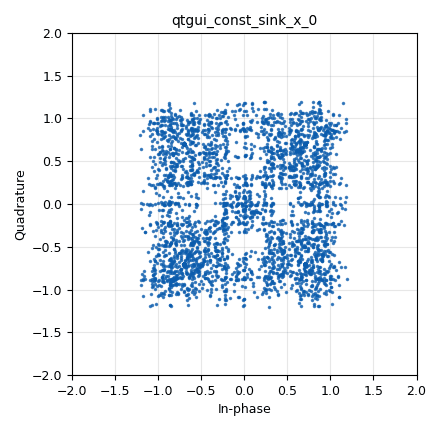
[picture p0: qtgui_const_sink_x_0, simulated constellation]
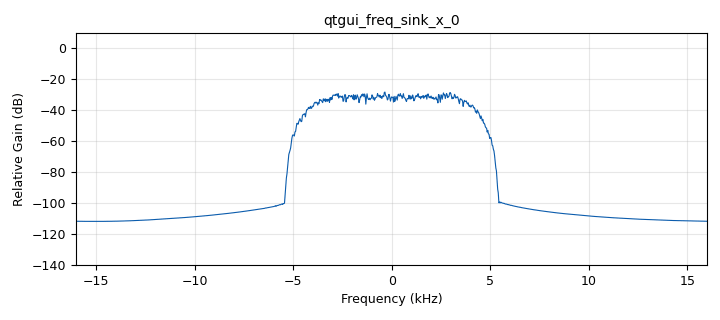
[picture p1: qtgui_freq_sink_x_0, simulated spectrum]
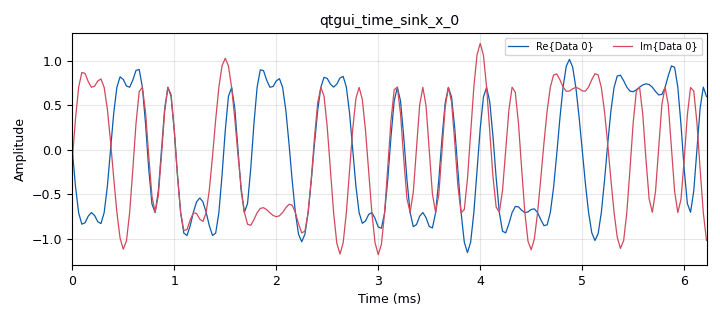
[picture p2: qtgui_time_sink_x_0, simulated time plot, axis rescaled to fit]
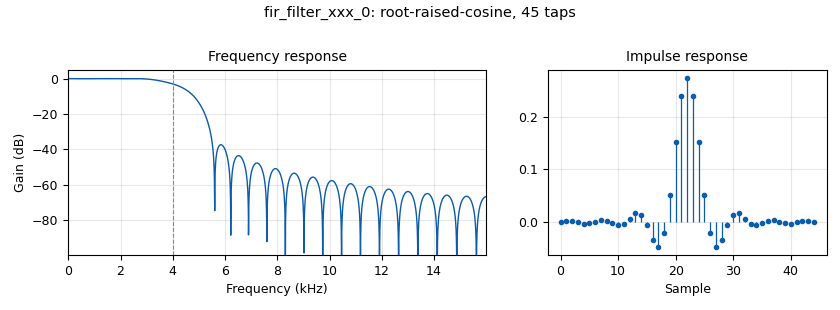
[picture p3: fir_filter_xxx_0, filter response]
options:
  parameters:
    generate_options: qt_gui
    id: PSK_Tx
    output_language: python
    title: Not titled yet
  states: {}

blocks:
- name: arity
  id: variable
  parameters:
    value: '4'
  states: {}
- name: excess_bw
  id: variable
  parameters:
    value: '350e-3'
  states: {}
- name: qpsk1
  id: variable_constellation_rect
  parameters:
    const_points: '[.7071-.7071j, -.7071+.7071j, .7071+.7071j, -.7071-.7071j]'
    imag_sect: '2'
    real_sect: '2'
    rot_sym: '4'
    sym_map: '[0, 1, 3, 2]'
    w_imag_sect: '1'
    w_real_sect: '1'
  states: {}
- name: qpsk2
  id: variable_constellation
  parameters:
    precision: '8'
    type: qpsk
  states: {}
- name: qpsk_obj
  id: variable_constellation_rect
  parameters:
    const_points: '[-1-1j, -1+1j, 1+1j, 1-1j]'
    imag_sect: '2'
    real_sect: '2'
    rot_sym: '4'
    sym_map: '[0, 1, 3, 2]'
    w_imag_sect: '1'
    w_real_sect: '1'
  states: {state: disabled}
- name: rf_samp_rate
  id: variable
  parameters:
    value: 2e6
  states: {}
- name: rrc_taps
  id: variable
  parameters:
    value: firdes.root_raised_cosine(1.0,samp_rate,samp_rate/sps, excess_bw, 11*sps)
  states: {}
- name: samp_rate
  id: variable
  parameters:
    value: '32000'
  states: {state: disabled}
- name: samp_rate
  id: variable
  parameters:
    value: 32e3
  states: {}
- name: sps
  id: variable
  parameters:
    value: '4'
  states: {}
- name: variable_constellation_0
  id: variable_constellation
  parameters:
    precision: '8'
    type: bpsk
  states: {}
- name: variable_constellation_rect_0
  id: variable_constellation_rect
  parameters:
    const_points: '[-1-1j, -1+1j, 1+1j, 1-1j]'
    imag_sect: '2'
    real_sect: '2'
    rot_sym: '4'
    sym_map: '[0, 1, 3, 2]'
    w_imag_sect: '1'
    w_real_sect: '1'
  states: {state: disabled}
- name: analog_random_source_x_0
  id: analog_random_source_x
  parameters:
    max: '256'
    min: '0'
    num_samps: '1000'
    repeat: 'True'
    type: byte
  states: {}
- name: digital_constellation_modulator_0
  id: digital_constellation_modulator
  parameters:
    constellation: qpsk1
    differential: 'True'
    excess_bw: '0.35'
    samples_per_symbol: '4'
  states: {}
- name: fir_filter_xxx_0
  id: fir_filter_xxx
  parameters:
    decim: '1'
    taps: rrc_taps
    type: ccc
  states: {}
- name: iio_pluto_sink_0
  id: iio_pluto_sink
  parameters:
    attenuation1: '0'
    bandwidth: '20000000'
    buffer_size: '32768'
    cyclic: 'False'
    filter_source: '''Auto'''
    frequency: int(433.92e6)
    samplerate: int(rf_samp_rate)
    type: fc32
  states: {}
- name: iio_pluto_source_0
  id: iio_pluto_source
  parameters:
    bandwidth: '20000000'
    bbdc: 'True'
    buffer_size: '32768'
    filter_source: '''Auto'''
    frequency: '2400000000'
    gain1: '''slow_attack'''
    quadrature: 'True'
    rfdc: 'True'
    samplerate: samp_rate
    type: fc32
  states: {state: disabled}
- name: qtgui_const_sink_x_0
  id: qtgui_const_sink_x
  parameters:
    size: '4096'
    type: complex
  states: {}
- name: qtgui_freq_sink_x_0
  id: qtgui_freq_sink_x
  parameters:
    average: '0.05'
    bw: samp_rate
    fc: '0'
    fftsize: '1024'
    type: complex
    wintype: window.WIN_KAISER
  states: {}
- name: qtgui_time_sink_x_0
  id: qtgui_time_sink_x
  parameters:
    size: '200'
    srate: samp_rate
    type: complex
  states: {}
- name: rational_resampler_xxx_0
  id: rational_resampler_xxx
  parameters:
    decim: '32'
    interp: '2000'
    type: ccc
  states: {}

connections:
- [analog_random_source_x_0, '0', digital_constellation_modulator_0, '0']
- [digital_constellation_modulator_0, '0', fir_filter_xxx_0, '0']
- [fir_filter_xxx_0, '0', qtgui_const_sink_x_0, '0']
- [fir_filter_xxx_0, '0', qtgui_freq_sink_x_0, '0']
- [fir_filter_xxx_0, '0', qtgui_time_sink_x_0, '0']
- [fir_filter_xxx_0, '0', rational_resampler_xxx_0, '0']
- [rational_resampler_xxx_0, '0', iio_pluto_sink_0, '0']

metadata:
  file_format: 1
  grc_version: 3.10.3.0
